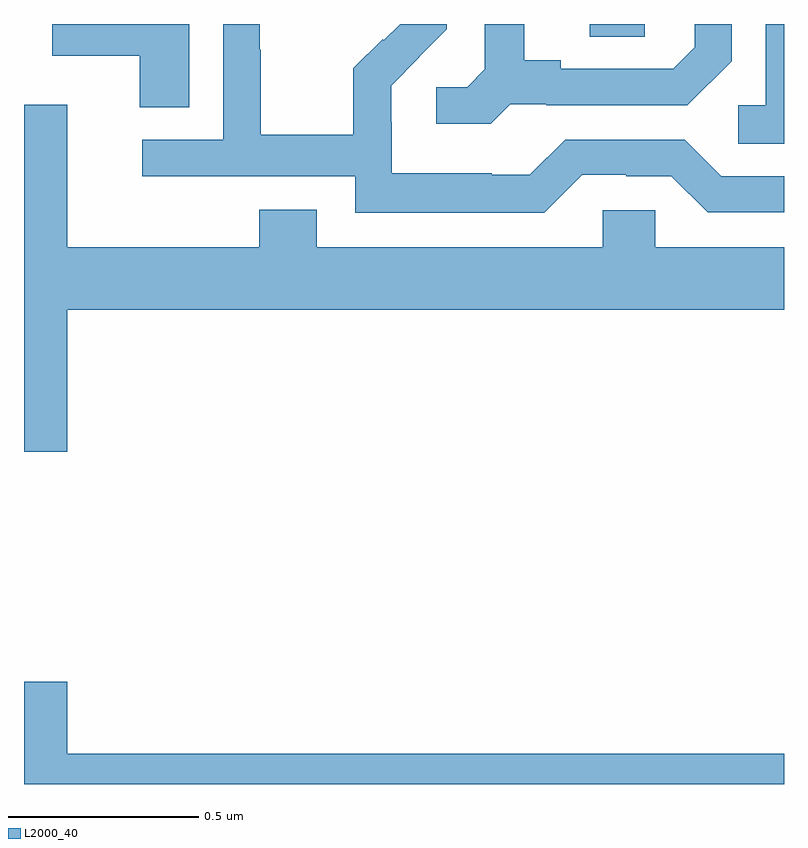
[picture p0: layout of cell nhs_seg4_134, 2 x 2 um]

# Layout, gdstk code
import gdstk
lib = gdstk.Library(unit=1e-6, precision=1e-09)
def R(c, l, rs):  # rectangles x0, y0, x1, y1
    for r in rs: c.add(gdstk.rectangle(r[:2], r[2:], *l))
def P(c, l, *ps):  # polygons
    for p in ps: c.add(gdstk.Polygon(p, *l))
L2000_40 = (2000, 40)

nhs_seg4_134 = lib.new_cell('nhs_seg4_134')
R(nhs_seg4_134, L2000_40, [(113.489,802.867,113.634,802.9)])
P(nhs_seg4_134, L2000_40, [(113.28,802.689),(113.374,802.689),(113.374,802.686),(113.746,802.686),(113.862,802.802),(113.862,802.9),(113.765,802.9),(113.765,802.839),(113.708,802.782),(113.413,802.782),(113.413,802.805),(113.317,802.805),(113.317,802.9),(113.213,802.9),(113.213,802.781),(113.166,802.734),(113.085,802.734),(113.085,802.637),(113.228,802.637)],
  [(112.435,802.9),(112.074,802.9),(112.074,802.817),(112.304,802.817),(112.304,802.681),(112.435,802.681)],
  [(113.469,802.503),(113.585,802.503),(113.585,802.5),(113.703,802.5),(113.799,802.404),(114,802.404),(114,802.5),(113.835,802.5),(113.739,802.596),(113.424,802.596),(113.331,802.503),(113.231,802.503),(113.231,802.507),(112.968,802.507),(112.968,802.641),(112.966,802.641),(112.966,802.738),(113.04,802.812),(113.039,802.813),(113.112,802.886),(113.112,802.9),(112.99,802.9),(112.947,802.857),(112.944,802.86),(112.867,802.783),(112.867,802.609),(112.623,802.609),(112.623,802.832),(112.62,802.832),(112.62,802.9),(112.524,802.9),(112.524,802.596),(112.311,802.596),(112.311,802.5),(112.872,802.5),(112.872,802.403),(113.369,802.403)],
  [(114,802.9),(113.952,802.9),(113.952,802.686),(113.88,802.686),(113.88,802.585),(114,802.585)],
  [(112.114,802.148),(114,802.148),(114,802.312),(113.661,802.312),(113.661,802.41),(113.523,802.41),(113.523,802.312),(112.771,802.312),(112.771,802.411),(112.619,802.411),(112.619,802.312),(112.114,802.312),(112.114,802.687),(112,802.687),(112,801.774),(112.114,801.774)],
  [(114,800.98),(112.114,800.98),(112.114,801.169),(112,801.169),(112,800.9),(114,800.9)])

lib.write_gds('nhs_seg4_134.gds')
